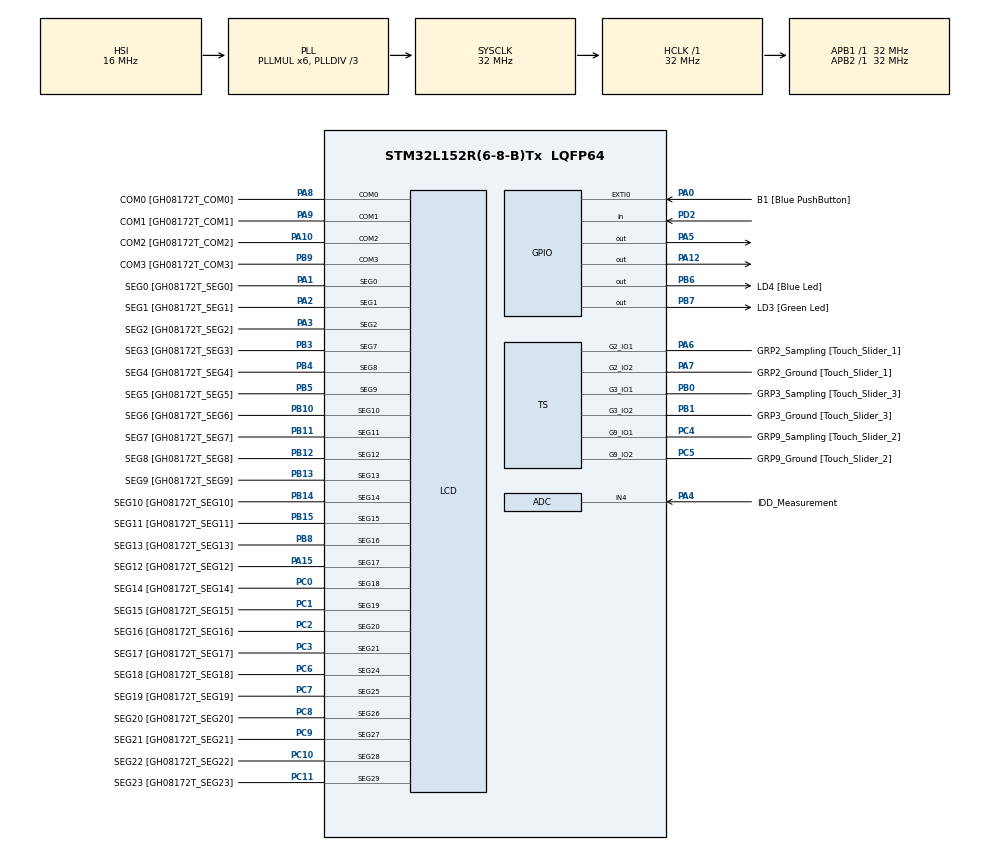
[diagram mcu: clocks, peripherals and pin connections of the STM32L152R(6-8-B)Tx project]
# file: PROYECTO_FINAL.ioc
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ADC.Channel=ADC_CHANNEL_4
ADC.Channel-0\#ChannelRegularConversion=ADC_CHANNEL_4
ADC.Channel-IN4=ADC_CHANNEL_4
ADC.ExternalTrigConv=ADC_EXTERNALTRIGCONV_T2_CC3
ADC.ExternalTrigConv-0\#ChannelRegularConversion=ADC_SOFTWARE_START
ADC.ExternalTrigConvEdge=ADC_EXTERNALTRIGCONVEDGE_RISING
ADC.Rank-0\#ChannelRegularConversion=1
ADC.SamplingTime-0\#ChannelRegularConversion=ADC_SAMPLETIME_4CYCLES
Mcu.Family=STM32L1
Mcu.Name=STM32L152R(6-8-B)Tx
Mcu.Package=LQFP64
NVIC.PriorityGroup=NVIC_PRIORITYGROUP_0
PA0-WKUP1.GPIO_Label=B1 [Blue PushButton]
PA0-WKUP1.GPIO_ModeDefaultEXTI=GPIO_MODE_EVT_RISING
PA0-WKUP1.GPIO_PuPd=GPIO_NOPULL
PA0-WKUP1.Signal=GPXTI0
PA1.GPIO_Label=SEG0 [GH08172T_SEG0]
PA1.GPIO_Mode=GPIO_MODE_AF_PP
PA1.GPIO_PuPd=GPIO_NOPULL
PA1.GPIO_Speed=GPIO_SPEED_FREQ_LOW
PA1.Mode=SEG0
PA1.Signal=LCD_SEG0
PA10.GPIO_Label=COM2 [GH08172T_COM2]
PA10.GPIO_Mode=GPIO_MODE_AF_PP
PA10.GPIO_PuPd=GPIO_NOPULL
PA10.GPIO_Speed=GPIO_SPEED_FREQ_LOW
PA10.Mode=1/4 Duty Cycle
PA10.Signal=LCD_COM2
PA12.Signal=GPIO_Output
PA13.GPIO_Label=SWDIO
PA13.Mode=Serial_Wire
PA13.Signal=SYS_JTMS-SWDIO
PA14.GPIO_Label=SWCLK
PA14.Mode=Serial_Wire
PA14.Signal=SYS_JTCK-SWCLK
PA15.GPIO_Label=SEG12 [GH08172T_SEG12]
PA15.GPIO_Mode=GPIO_MODE_AF_PP
PA15.GPIO_PuPd=GPIO_NOPULL
PA15.GPIO_Speed=GPIO_SPEED_FREQ_LOW
PA15.Mode=SEG17
PA15.Signal=LCD_SEG17
PA2.GPIO_Label=SEG1 [GH08172T_SEG1]
PA2.GPIO_Mode=GPIO_MODE_AF_PP
PA2.GPIO_PuPd=GPIO_NOPULL
PA2.GPIO_Speed=GPIO_SPEED_FREQ_LOW
PA2.Mode=SEG1
PA2.Signal=LCD_SEG1
PA3.GPIO_Label=SEG2 [GH08172T_SEG2]
PA3.GPIO_Mode=GPIO_MODE_AF_PP
PA3.GPIO_PuPd=GPIO_NOPULL
PA3.GPIO_Speed=GPIO_SPEED_FREQ_LOW
PA3.Mode=SEG2
PA3.Signal=LCD_SEG2
PA4.GPIO_Label=IDD_Measurement
PA4.GPIO_Mode=GPIO_MODE_ANALOG
PA4.GPIO_PuPd=GPIO_NOPULL
PA4.Mode=IN4
PA4.Signal=ADC_IN4
PA5.Signal=GPIO_Output
PA6.GPIO_Label=GRP2_Sampling [Touch_Slider_1]
PA6.Mode=G2_IO1-Sampling
PA6.Signal=TS_G2_IO1
PA7.GPIO_Label=GRP2_Ground [Touch_Slider_1]
PA7.Mode=G2_IO2-Channel
PA7.Signal=TS_G2_IO2
PA8.GPIO_Label=COM0 [GH08172T_COM0]
PA8.GPIO_Mode=GPIO_MODE_AF_PP
PA8.GPIO_PuPd=GPIO_NOPULL
PA8.GPIO_Speed=GPIO_SPEED_FREQ_LOW
PA8.Mode=1/4 Duty Cycle
PA8.Signal=LCD_COM0
PA9.GPIO_Label=COM1 [GH08172T_COM1]
PA9.GPIO_Mode=GPIO_MODE_AF_PP
PA9.GPIO_PuPd=GPIO_NOPULL
PA9.GPIO_Speed=GPIO_SPEED_FREQ_LOW
PA9.Mode=1/4 Duty Cycle
PA9.Signal=LCD_COM1
PB0.GPIO_Label=GRP3_Sampling [Touch_Slider_3]
PB0.Mode=G3_IO1-Sampling
PB0.Signal=TS_G3_IO1
PB1.GPIO_Label=GRP3_Ground [Touch_Slider_3]
PB1.Mode=G3_IO2-Channel
PB1.Signal=TS_G3_IO2
PB10.GPIO_Label=SEG6 [GH08172T_SEG6]
PB10.GPIO_Mode=GPIO_MODE_AF_PP
PB10.GPIO_PuPd=GPIO_NOPULL
PB10.GPIO_Speed=GPIO_SPEED_FREQ_LOW
PB10.Mode=SEG10
PB10.Signal=LCD_SEG10
PB11.GPIO_Label=SEG7 [GH08172T_SEG7]
PB11.GPIO_Mode=GPIO_MODE_AF_PP
PB11.GPIO_PuPd=GPIO_NOPULL
PB11.GPIO_Speed=GPIO_SPEED_FREQ_LOW
PB11.Mode=SEG11
PB11.Signal=LCD_SEG11
PB12.GPIO_Label=SEG8 [GH08172T_SEG8]
PB12.GPIO_Mode=GPIO_MODE_AF_PP
PB12.GPIO_PuPd=GPIO_NOPULL
PB12.GPIO_Speed=GPIO_SPEED_FREQ_LOW
PB12.Mode=SEG12
PB12.Signal=LCD_SEG12
PB13.GPIO_Label=SEG9 [GH08172T_SEG9]
PB13.GPIO_Mode=GPIO_MODE_AF_PP
PB13.GPIO_PuPd=GPIO_NOPULL
PB13.GPIO_Speed=GPIO_SPEED_FREQ_LOW
PB13.Mode=SEG13
PB13.Signal=LCD_SEG13
PB14.GPIO_Label=SEG10 [GH08172T_SEG10]
PB14.GPIO_Mode=GPIO_MODE_AF_PP
PB14.GPIO_PuPd=GPIO_NOPULL
PB14.GPIO_Speed=GPIO_SPEED_FREQ_LOW
PB14.Mode=SEG14
PB14.Signal=LCD_SEG14
PB15.GPIO_Label=SEG11 [GH08172T_SEG11]
PB15.GPIO_Mode=GPIO_MODE_AF_PP
PB15.GPIO_PuPd=GPIO_NOPULL
PB15.GPIO_Speed=GPIO_SPEED_FREQ_LOW
PB15.Mode=SEG15
PB15.Signal=LCD_SEG15
PB3.GPIO_Label=SEG3 [GH08172T_SEG3]
PB3.GPIO_Mode=GPIO_MODE_AF_PP
PB3.GPIO_PuPd=GPIO_NOPULL
PB3.GPIO_Speed=GPIO_SPEED_FREQ_LOW
PB3.Mode=SEG7
PB3.Signal=LCD_SEG7
PB4.GPIO_Label=SEG4 [GH08172T_SEG4]
PB4.GPIO_Mode=GPIO_MODE_AF_PP
PB4.GPIO_PuPd=GPIO_NOPULL
PB4.GPIO_Speed=GPIO_SPEED_FREQ_LOW
PB4.Mode=SEG8
PB4.Signal=LCD_SEG8
PB5.GPIO_Label=SEG5 [GH08172T_SEG5]
PB5.GPIO_Mode=GPIO_MODE_AF_PP
PB5.GPIO_PuPd=GPIO_NOPULL
PB5.GPIO_Speed=GPIO_SPEED_FREQ_LOW
PB5.Mode=SEG9
PB5.Signal=LCD_SEG9
PB6.GPIO_Label=LD4 [Blue Led]
PB6.GPIO_ModeDefaultOutputPP=GPIO_MODE_OUTPUT_PP
PB6.GPIO_PuPd=GPIO_NOPULL
PB6.GPIO_Speed=GPIO_SPEED_FREQ_LOW
PB6.Signal=GPIO_Output
PB7.GPIO_Label=LD3 [Green Led]
PB7.GPIO_ModeDefaultOutputPP=GPIO_MODE_OUTPUT_PP
PB7.GPIO_PuPd=GPIO_NOPULL
PB7.GPIO_Speed=GPIO_SPEED_FREQ_LOW
PB7.Signal=GPIO_Output
PB8.GPIO_Label=SEG13 [GH08172T_SEG13]
PB8.GPIO_Mode=GPIO_MODE_AF_PP
PB8.GPIO_PuPd=GPIO_NOPULL
PB8.GPIO_Speed=GPIO_SPEED_FREQ_LOW
PB8.Mode=SEG16
PB8.Signal=LCD_SEG16
PB9.GPIO_Label=COM3 [GH08172T_COM3]
PB9.GPIO_Mode=GPIO_MODE_AF_PP
PB9.GPIO_PuPd=GPIO_NOPULL
PB9.GPIO_Speed=GPIO_SPEED_FREQ_LOW
PB9.Mode=1/4 Duty Cycle
PB9.Signal=LCD_COM3
PC0.GPIO_Label=SEG14 [GH08172T_SEG14]
PC0.GPIO_Mode=GPIO_MODE_AF_PP
PC0.GPIO_PuPd=GPIO_NOPULL
PC0.GPIO_Speed=GPIO_SPEED_FREQ_LOW
PC0.Mode=SEG18
PC0.Signal=LCD_SEG18
PC1.GPIO_Label=SEG15 [GH08172T_SEG15]
PC1.GPIO_Mode=GPIO_MODE_AF_PP
PC1.GPIO_PuPd=GPIO_NOPULL
PC1.GPIO_Speed=GPIO_SPEED_FREQ_LOW
PC1.Mode=SEG19
PC1.Signal=LCD_SEG19
PC10.GPIO_Label=SEG22 [GH08172T_SEG22]
PC10.GPIO_Mode=GPIO_MODE_AF_PP
PC10.GPIO_PuPd=GPIO_NOPULL
PC10.GPIO_Speed=GPIO_SPEED_FREQ_LOW
PC10.Mode=SEG28
PC10.Signal=LCD_SEG28
PC11.GPIO_Label=SEG23 [GH08172T_SEG23]
PC11.GPIO_Mode=GPIO_MODE_AF_PP
PC11.GPIO_PuPd=GPIO_NOPULL
PC11.GPIO_Speed=GPIO_SPEED_FREQ_LOW
PC11.Mode=SEG29
PC11.Signal=LCD_SEG29
PC14-OSC32_IN.GPIO_Label=PC14-OSC32_IN
PC14-OSC32_IN.Mode=LSE-External-Oscillator
PC14-OSC32_IN.Signal=RCC_OSC32_IN
PC15-OSC32_OUT.GPIO_Label=PC15-OSC32_OUT
PC15-OSC32_OUT.Mode=LSE-External-Oscillator
PC15-OSC32_OUT.Signal=RCC_OSC32_OUT
PC2.GPIO_Label=SEG16 [GH08172T_SEG16]
PC2.GPIO_Mode=GPIO_MODE_AF_PP
PC2.GPIO_PuPd=GPIO_NOPULL
PC2.GPIO_Speed=GPIO_SPEED_FREQ_LOW
PC2.Mode=SEG20
PC2.Signal=LCD_SEG20
PC3.GPIO_Label=SEG17 [GH08172T_SEG17]
PC3.GPIO_Mode=GPIO_MODE_AF_PP
PC3.GPIO_PuPd=GPIO_NOPULL
PC3.GPIO_Speed=GPIO_SPEED_FREQ_LOW
PC3.Mode=SEG21
PC3.Signal=LCD_SEG21
PC4.GPIO_Label=GRP9_Sampling [Touch_Slider_2]
PC4.Mode=G9_IO1-Sampling
PC4.Signal=TS_G9_IO1
PC5.GPIO_Label=GRP9_Ground [Touch_Slider_2]
PC5.Mode=G9_IO2-Channel
PC5.Signal=TS_G9_IO2
PC6.GPIO_Label=SEG18 [GH08172T_SEG18]
PC6.GPIO_Mode=GPIO_MODE_AF_PP
PC6.GPIO_PuPd=GPIO_NOPULL
PC6.GPIO_Speed=GPIO_SPEED_FREQ_LOW
PC6.Mode=SEG24
PC6.Signal=LCD_SEG24
PC7.GPIO_Label=SEG19 [GH08172T_SEG19]
PC7.GPIO_Mode=GPIO_MODE_AF_PP
PC7.GPIO_PuPd=GPIO_NOPULL
PC7.GPIO_Speed=GPIO_SPEED_FREQ_LOW
PC7.Mode=SEG25
PC7.Signal=LCD_SEG25
PC8.GPIO_Label=SEG20 [GH08172T_SEG20]
PC8.GPIO_Mode=GPIO_MODE_AF_PP
PC8.GPIO_PuPd=GPIO_NOPULL
PC8.GPIO_Speed=GPIO_SPEED_FREQ_LOW
PC8.Mode=SEG26
PC8.Signal=LCD_SEG26
PC9.GPIO_Label=SEG21 [GH08172T_SEG21]
PC9.GPIO_Mode=GPIO_MODE_AF_PP
PC9.GPIO_PuPd=GPIO_NOPULL
PC9.GPIO_Speed=GPIO_SPEED_FREQ_LOW
PC9.Mode=SEG27
PC9.Signal=LCD_SEG27
PD2.Signal=GPIO_Input
ProjectManager.HeapSize=0x200
ProjectManager.StackSize=0x400
ProjectManager.TargetToolchain=STM32CubeIDE
RCC.48MHZClocksFreq_Value=48000000
RCC.AHBFreq_Value=32000000
RCC.APB1Freq_Value=32000000
RCC.APB1TimFreq_Value=32000000
RCC.APB2Freq_Value=32000000
RCC.APB2TimFreq_Value=32000000
RCC.HCLKFreq_Value=32000000
RCC.HSE_VALUE=8000000
RCC.HSI_VALUE=16000000
RCC.MSI_VALUE=2097000
RCC.PLLDIV=RCC_PLL_DIV3
RCC.PLLMUL=RCC_PLL_MUL6
RCC.RTCClockSelectionVirtual=RCC_RTCCLKSOURCE_LSE
RCC.SYSCLKFreq_VALUE=32000000
RCC.SYSCLKSource=RCC_SYSCLKSOURCE_PLLCLK
RCC.USBOutput=48000000
RCC.VCOOutputFreq_Value=96000000
VP_TIM2_VS_ClockSourceINT.Mode=Internal
VP_TIM3_VS_ClockSourceINT.Mode=Internal
VP_TIM4_VS_ClockSourceINT.Mode=Internal
board=STM32L-DISCOVERY

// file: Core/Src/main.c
/* USER CODE BEGIN Header */
/**
 ******************************************************************************
 * @file           : main.c
 * @brief          : Main program body
 ******************************************************************************
 * @attention
 *
 * Copyright (c) 2022 STMicroelectronics.
 * All rights reserved.
 *
 * This software is licensed under terms that can be found in the LICENSE file
 * in the root directory of this software component.
 * If no LICENSE file comes with this software, it is provided AS-IS.
 *
 ******************************************************************************
 */
/* USER CODE END Header */
#include "main.h"

/* USER CODE BEGIN Includes */
#include <stdlib.h>
#include "stm32l152c_discovery.h"
#include "stm32l152c_discovery_glass_lcd.h"
#include "string.h"

/* USER CODE END Includes */

ADC_HandleTypeDef hadc;

LCD_HandleTypeDef hlcd;

TIM_HandleTypeDef htim2;
TIM_HandleTypeDef htim3;
TIM_HandleTypeDef htim4;

/* USER CODE BEGIN PV */
/*short botUser = 0;
 short juego = 1;
 short pulsacion = 0;
 int espera_cuenta_atras = 2;
 short pulsacion_j1 = 0; //Para el juego 2
 short pulsacion_j2 = 0; //Para el juego 2
 int ganador = 0;
 int tiempo_espera = 0;
 short reinicio = 0;

 */

unsigned char cadena[6];
//PARA ANTES DE ELEGIR JUEGO
short juego = 1;
short reinicio = 0;

//JUGADORES
short jugador1 = 0; //DICE SI EL JUGADOR 1 LE HA DADO AL BOTON
short jugador2 = 0; //DICE SI EL JUGADOR 2 LE HA DADO AL BOTON
int tiempo1; //TIEMPO DEL JUGADOR 1
int tiempo2; //TIEMPO DEL JUGADOR 2
int prueba = 12345;
short ganador = 0; //DICE QUIEN HA GANADO

//EXCLUSIVO DEL JUEGO 2
short limite_pantalla = 30; //EST�? PUESTO A 15 SEGUNDOS PARA QUE CUANDO LOS SOBREPASE SE TERMINE EL JUEGO 2
short limite_rnd = 10; //POR DEFAULT LO PONEMOS
short signo = 0;
int num_ant = 0;
int num = 0;
int potenciometro = 0;
short escalado = 0;
int tiempo_total = 0;
short DC = 1;
short melodia = 0;
//Una vez haya acabado el juego para reiniciar
short juego_acabado = 0;

//PARA LIMITAR EL PASO DEL PROGRAMA

short contador_espera = 0;
short espera = 0;
short limite = 6;
short paso = 0; //Va a actuar como barrera para limitar el paso del programa
int tiempo_excedido = 0;

/* USER CODE END PV */

void SystemClock_Config(void);
static void MX_GPIO_Init(void);
static void MX_ADC_Init(void);
static void MX_LCD_Init(void);
static void MX_TS_Init(void);
static void MX_TIM3_Init(void);
static void MX_TIM4_Init(void);
static void MX_TIM2_Init(void);

/* USER CODE BEGIN 0 */
/*void EXTI9_5_IRQHandler(void) { // El PC salta aquí en cuanto se produzca la EXTI2
 if (botUser == 0) {
 botUser = 1;
 } else if (botUser == 1) {
 botUser = 0;
 }
 EXTI->PR |= 0x0080; // Borro el flag
 }
 */

void Bin2Ascii(short numero, unsigned char *cadena) {
	uint8_t ind;
	uint32_t div = 10000, resto = numero;

	for (ind = 1; ind < 6; ind++) {
		cadena[ind] = resto / div + '0';
		resto = numero % div;
		div = div / 10;
	}

}

void TIM4_IRQHandler(void) {
	if ((TIM4->SR & 0x0004) != 0) {
		tiempo1 = TIM4->CCR2;
		jugador1 = 1;

	} else if ((TIM4->SR & 0x0002) != 0) {
		tiempo2 = TIM4->CCR1;
		jugador2 = 1;
	}
	TIM4->SR = 0x0000;
}

void TIM3_IRQHandler(void) {
	if ((TIM3->SR & 0x0002) != 0) {
		contador_espera++;
		if (contador_espera == limite) {
			espera++;
		}
		TIM3->CNT = 0;
	}
	// TIM3->CCR1 += tiempo; // Actualizo el valor de la comparación incrementándolo en
	// 1000 pasos = 1 segundo

	TIM3->SR = 0x0000; // Limpio los flags del contador
}

void EXTI0_IRQHandler(void) { // El PC salta aquí en cuanto se produzca la EXTI0
	reinicio = 1;
	EXTI->PR = 0x0001; // Borro el flag
}
/* USER CODE END 0 */

int main(void) {

	/* MCU Configuration--------------------------------------------------------*/

	/* Reset of all peripherals, Initializes the Flash interface and the Systick. */
	HAL_Init();

	/* Configure the system clock */
	SystemClock_Config();

	/* Initialize all configured peripherals */
	MX_GPIO_Init();
	MX_ADC_Init();
	MX_LCD_Init();
	MX_TS_Init();
	MX_TIM2_Init();
	MX_TIM3_Init();
	MX_TIM4_Init();

	BSP_LCD_GLASS_Init();
	BSP_LCD_GLASS_BarLevelConfig(0);
	BSP_LCD_GLASS_Clear();
	/* USER CODE BEGIN 2 */
	//LED VERDE
	GPIOA->MODER &= ~(1 << (12 * 2 + 1));
	GPIOA->MODER |= (1 << (12 * 2));
	GPIOA->OTYPER &= ~(1 << 12);
	GPIOA->OSPEEDR &= ~(1 << (12 * 2 + 1));
	GPIOA->OSPEEDR &= ~(1 << (12 * 2));

	//LED AMARILLO
	GPIOD->MODER &= ~(1 << (2 * 2 + 1));
	GPIOD->MODER |= (1 << (2 * 2));
	GPIOD->OTYPER &= ~(1 << 2);
	GPIOD->OSPEEDR &= ~(1 << (2 * 2 + 1));
	GPIOD->OSPEEDR &= ~(1 << (2 * 2));
	//REGISTROS BOTON USER
	SYSCFG->EXTICR[0] &= ~((1 << (4 * 0 + 0)) | (1 << (4 * 0 + 1))
			| (1 << (4 * 0 + 2)) | (1 << (4 * 0 + 3))); //Exti_0 GPIOA_0
	GPIOA->PUPDR |= (1 << (2 * 0 + 1));
	GPIOA->PUPDR &= ~(1 << (2 * 0)); //Configura Pull_UP
	EXTI->FTSR |= (1 << 0); //Habilita flanco de subida
	EXTI->RTSR &= ~(1 << 0); //Deshabilita flanco bajada
	EXTI->IMR |= (1 << 0); //desenmascara exti_0
	NVIC->ISER[0] |= (1 << 6); //Habilita IRQ de exti0

	//REGISTROS BOTON 1   PB6 COMO ENTRADA DE TIM4 CH1
	GPIOB->MODER |= (1 << (2 * 6 + 1));
	GPIOB->MODER &= ~(1 << (2 * 6));
	//GPIOB->6 Funcion alternativa PARA TIMER
	GPIOB->AFR[0] &=
			~((1 << (4 * 6)) | (1 << (4 * 6 + 2)) | (1 << (4 * 6 + 3)));
	GPIOB->AFR[0] |= (1 << (4 * 6 + 1));
	//Funcion alternativa de GPIOx->Puerto_6  ES PARA TIMER 4 ch1
	GPIOB->PUPDR |= (1 << (2 * 6));
	GPIOB->PUPDR &= ~(1 << (2 * 6 + 1));
	//Boton 1 a Pull_UP (PB6)

	//REGISTROS PB7 COMO FUNCION ALTERNATIVA
	GPIOB->MODER &= ~(1 << (7 * 2));
	GPIOB->MODER |= (1 << (7 * 2 + 1));
	GPIOB->AFR[0] |= (1 << ((7 * 4) + 1));
	GPIOB->AFR[0] &= ~((1 << (7 * 4)) | (1 << ((7 * 4) + 2))
			| (1 << ((7 * 4) + 3)));
	GPIOB->PUPDR |= (1 << (2 * 7));
	GPIOB->PUPDR &= ~(1 << (2 * 7 + 1));
	//HITO 1
	/*SYSCFG->EXTICR[1] &= ~((1 << (4 * 3 + 1)) | (1 << (4 * 3 + 2))| (1 << (4 * 3 + 3)));
	 SYSCFG->EXTICR[1] |= (1 << (4 * 3 + 0));
	 EXTI->FTSR |= (1 << 7);
	 EXTI->RTSR &= ~(1 << 7);
	 EXTI->IMR |= (1 << 7);*/

	TIM4->CR1 = 0;
	TIM4->CR2 = 0;
	TIM4->SMCR = 0; //SIEMPRE A 0

	//PONEMOS EL COMPARE MODE REGISTER A TIC 01
	TIM4->CCMR1 |= 0x0101;

	//PONEMOS EL ENABLE REGISTER A FLANCO DE BAJADA 0 1
	TIM4->CCER |= (1 << (4 * 0 + 1)); //BIT CC1P A 1
	TIM4->CCER &= ~(1 << (4 * 0 + 3)); //BIT CC1NP A 0
	TIM4->CCER |= (1 << (4 * 1 + 1)); //BIT CC2P A 1
	TIM4->CCER &= ~(1 << (4 * 1 + 3)); //BIT CC2NP A 0

	TIM4->CCER |= (1 << (4 * 0)); //OUTPUT ENABLE A 1 (canal 1)
	TIM4->CCER |= (1 << (4 * 1)); //OUTPUT ENABLE A 1 (canal 2)

	TIM4->CNT = 0; //INICIALIZAMOS CONTADOR A 0
	TIM4->PSC = 32000; //PREESCALADO 32000 ->1 TIK = 1000 PASOS POR SEGUNDO
	TIM4->ARR = 0xFFFF; //Valor maxijmo para ARR ->el ciclo del timer son xxx segundos
	TIM4->EGR |= 0x0001;

	TIM4->DIER = 0x0006;
	TIM4->SR = 0x00;
	NVIC->ISER[0] |= (1 << 30); //hABILITA LA INTERRUPCIÓN POR toc DEL TIMER 4
	TIM4->CR1 |= 0x01; //Arranca el timer

	TIM3->CR1 = 0x0000; // ARPE = 0 -> No es PWM, es TOC
	// CEN = 0; Contador apagado
	TIM3->CR2 = 0x0000; // Siempre "0" en este curso
	TIM3->SMCR = 0x0000;
	TIM3->PSC = 32000; // Preescalado = 32000 -> Frecuencia del contador = 32000000/32000
	// = 1000 pasos por segundo
	TIM3->CNT = 0; // Inicializo el valor del contador a cero
	TIM3->ARR = 0xFFFF; // Valor recomendado = FFFF
	TIM3->CCR1 = 500; // Registro donde se guarda el valor que marca la comparación existosa
	// en TOC.
	// Lo inicializo al valor que quiero llegar = 1000 pasos = 1 sg
	TIM3->DIER = 0x0002;	//DESENMASCARAMOS INTERRRUPCIONES CANAL 1 TIMER 3
	// Modo de salida del contador
	TIM3->CCMR1 = 0x0000; // CCyS = 0 (TOC)
	// OCyM = 000 (no hay salida por el pin HW asociado al TIM4)
	// OCyPE = 0 (sin precarga)
	TIM3->CCER = 0x0000; // CCyP = 0 (siempre en TOC)
	// CCyE = 0 (desactivada la salida hardware)
	// Habilitación de contador
	TIM3->CR1 |= 0x0001; // CEN = 1 -> Arranco el contador
	TIM3->EGR |= 0x0001; // UG = 1 -> Se genera evento de actualización
	TIM3->SR = 0; // Limpio los flags del contador

	// Habilitación de la interrupción TIM3_IRQ en el NVIC (posición 30).
	NVIC->ISER[0] |= (1 << 29);
	TIM3->CR1 |= 0x01; //Arranca el timer*/

	// ADC Configuration
	GPIOA->MODER |= 0x00000300; // PA4 as analog
	ADC1->CR2 &= ~(0x00000001); // ADON = 0 (ADC powered off)
	ADC1->CR1 = 0x00000000; // OVRIE = 0 (overrun IRQ disabled)
	// RES = 00 (resolution = 12 bits)
	// SCAN = 0 (scan mode disabled)
	// EOCIE = 0 (EOC IRQ disabled)
	ADC1->CR2 = 0x00000412; // EOCS = 1 (EOC is activated after each conversion)
	// DELS = 001 (delay till data is read)
	// CONT = 1 (continuous conversion)
	ADC1->SQR1 = 0x00000000; // 1 channel in the sequence
	ADC1->SQR5 = 0x00000004; // The selected channel is AIN4
	ADC1->CR2 |= 0x00000001; // ADON = 1 (ADC powered on)
	while ((ADC1->SR & 0x0040) == 0)
		; // If ADCONS = 0, I wait till converter is ready
	ADC1->CR2 |= 0x40000000;

	//CONF PWM ASOCIADO A TIMER 2
	GPIOA->MODER |= 1 << (2 * 5 + 1); // MODER = 10 (AF) para el bit 5 del puerto A
	GPIOA->MODER &= ~(1 << (2 * 5));
	GPIOA->AFR[0] &= ~(1 << (4 * 5 + 3));
	GPIOA->AFR[0] &= ~(1 << (4 * 5 + 2));
	GPIOA->AFR[0] &= ~(1 << (4 * 5 + 1));
	GPIOA->AFR[0] |= (1 << (4 * 5)); // AFR[0] para decir que el PA5 tiene la AF1 (TIM2)
	//CONF TIMER 2
	TIM2->CR1 = 0x0080; // ARPE = 1 -> Es PWM; CEN = 0; Contador apagado
	TIM2->CR2 = 0x0000; // Siempre "0" en este curso
	TIM2->SMCR = 0x0000; // Siempre "0" en este curso
	TIM2->PSC = 32000; // Preescalado=32000 -> f_contador=32000000/32000 = 1000 pasos/segundo
	TIM2->CNT = 0; // Inicializo el valor del contador a cero

	TIM2->ARR = 0;
	TIM2->CCR1 = 0; // Pongo una frecuencia PWM de 100 Hz y sólo cuento 10 pasos
	TIM2->CCR2 = 1; // EL DUTY CYCLE VA A SER EL MISMO
	TIM2->DIER = 0x0000;
	TIM2->CCMR1 = 0x0068; // CCyS = 0 (TOC, PWM)
	TIM2->CCMR2 = 0x0000;
	TIM2->EGR |= 0x01;
	TIM2->CR1 |= 0x0001;
	// OCyM = 110 (PWM con el primer semiciclo a 1)
	// OCyPE = 1 (con precarga)
	TIM2->CCER = 0x0001; // CCyP = 0 (siempre en PWM)
	// CCyE = 1 (activada la salida hardware)

	/* USER CODE END 2 */

	/* USER CODE END 2 */

	/* Infinite loop */
	/* USER CODE BEGIN WHILE */
	while (1) {

		if (reinicio == 1) {
			juego_acabado = 1;
			reinicio = 0;
			if (juego == 1) {
				juego = 2;
				//CONFIGURAMOS LO QUE HAGA FALTA DEL JUEGO 2
			} else {
				juego = 1;
				//CONFIGURAMOS LO QUE HAGA FALTA DEL JUEGO 1
			}
		}

		if (juego_acabado == 1) {
			TIM2->CCER = 0;
			GPIOA->BSRR |= (1 << 28);
			GPIOD->BSRR |= ((1 << 2) << 16);
			jugador1 = 0; //DICE SI EL JUGADOR 1 LE HA DADO AL BOTON
			jugador2 = 0; //DICE SI EL JUGADOR 2 LE HA DADO AL BOTON
			ganador = 0; //DICE QUIEN HA GANADO
			juego_acabado = 0;
			paso = 0;
			espera = 0;
			tiempo_excedido = 0;
			TIM4->CNT = 0;
			potenciometro = ADC1->DR;
			escalado = 0;
			tiempo_total = 0;
			melodia = 0;
		}

		switch (juego) {
		case (1):

			if (paso == 0) {
				BSP_LCD_GLASS_DisplayString((uint8_t*) "JUEGO1");
				TIM3->CNT = 0;
				limite = rand() % 8 + 2;
				; //ESPERAMOS ENTRE 1 Y 5  SEGUNDOS A ENCENDER EL LED
				contador_espera = 0;
				espera = 0;
				paso++;
			}

			if (paso > 0 && espera > 0) {

				if (paso == 1) {
					TIM4->CNT = 0;
					GPIOA->BSRR |= (1 << 12); //ENCENDEMOS LED
					TIM3->CNT = 0;
					contador_espera = 0;
					espera = 1;
					paso++;
					jugador1 = 0;
					jugador2 = 0;
					limite = 6;
				}

				if ((jugador1 == 1 || jugador2 == 1) && tiempo_excedido == 0) { //pulsacion

					if (ganador == 0) { //NO SE HA DECIDIDO EL GANADOR
						GPIOA->BSRR |= (1 << 28);
						if (jugador1 == 1) {
							ganador = 1;
						} else if (jugador2 == 1) {
							ganador = 2;
						}
					}

					if (ganador == 1) {
						if (paso == 2) {
							Bin2Ascii((short) (tiempo1), cadena);
							BSP_LCD_GLASS_Clear();
							cadena[0] = '1';
							paso++;
							TIM3->CNT = 0;
							contador_espera = 0;
							espera = 2;
						}

					} else if (ganador == 2) {
						if (paso == 2) {
							Bin2Ascii((short) (tiempo2), cadena);
							BSP_LCD_GLASS_Clear();
							cadena[0] = '2';
							paso++;
							TIM3->CNT = 0;
							contador_espera = 0;
							espera = 2;
						}

					}

					BSP_LCD_GLASS_DisplayString((uint8_t*) cadena);
					//MOSTRAMOS EL MENSAJE 3 SEGUNDOS
					if (espera == 3) {
						juego_acabado = 1;
					}
					//SE TERMINA EL JUEGO Y VUELTA A EMPEZAR

				} else if (espera == 2 || tiempo_excedido == 1) { //HAN PASADO 3 SEGUNDOS Y NADIE LE HA DADO AL BOTON
					tiempo_excedido = 1;
					GPIOA->BSRR |= (1 << 28);
					if (paso == 2) {
						TIM3->CNT = 0;
						contador_espera = 0;
						espera = 2;
						paso++;
						BSP_LCD_GLASS_Clear();
					}

					BSP_LCD_GLASS_DisplayString((uint8_t*) "-----");
					//MOSTRAMOS EL MENSAJE POR 3 SEGUNDOS
					if (espera == 3) {
						juego_acabado = 1;
					}
					//SE TERMINA EL JUEGO Y VUELTA A EMPEZAR
				}

			}

			break;

		case (2):
			/*(paso == 0) {
			 paso++;
			 Bin2Ascii((short) (prueba - 10000), cadena);
			 cadena[0] = '2';
			 BSP_LCD_GLASS_DisplayString((uint8_t*) " JUG_1");
			 //espera2SEG;
			 BSP_LCD_GLASS_DisplayString((uint8_t*) cadena);
			 BSP_LCD_GLASS_DisplayString((uint8_t*) "-");
			 }*/

			if (paso == 0) {
				potenciometro = ADC1->DR;
				if (potenciometro < 900) {
					escalado = 1;
					tiempo_total = 5000;
				} else if (potenciometro > 3500) {
					escalado = 4;
					tiempo_total = 20000;
				} else {
					escalado = 2;
					tiempo_total = 10000;
				}
				BSP_LCD_GLASS_DisplayString((uint8_t*) "JUEGO2");
				TIM3->CNT = 0;
				limite = 6; //MOSTRAMOS MENSAJE POR PANTALLA DURANTE 3 SEGUNDOS
				contador_espera = 0;
				espera = 0;
				paso++;

			}

			if (paso > 0 && espera > 0 && paso < 3) {
				if (paso == 1) {
					limite = escalado;
					paso++;
					limite_rnd = rand() % 8 + 1; //ENTRE 1 Y 9
					contador_espera = 0;
					num_ant = 0;
					num = 0;
					BSP_LCD_GLASS_Clear();
					BSP_LCD_GLASS_DisplayString((uint8_t*) "    10");
					TIM4->CNT = 0;

				}

				if (espera >= 1 && espera <= 15) {
					num = (espera - 1);
					if (num_ant != num) {
						limite += escalado;
						num_ant = num;
						if (espera <= limite_rnd) {
							Bin2Ascii((short) (10 - num), cadena);
							cadena[0] = ' ';
							cadena[1] = ' ';
							cadena[2] = ' ';
							cadena[3] = ' ';
							BSP_LCD_GLASS_DisplayString((uint8_t*) cadena);
						} else {
							BSP_LCD_GLASS_Clear();
						}

					}

				}
				if (paso < 3) {
					//GANADOR
					if (jugador1 == 1 && jugador2 == 1 && juego_acabado == 0) { //PULSAN AMBOS JUGADORES
						if (paso == 2) {
							paso++;
							if (tiempo1 < tiempo_total
									&& tiempo2 < tiempo_total) { //LOS DOS ANTES DE10
								if (tiempo1 > tiempo2) {
									ganador = 1;
									tiempo1 = tiempo_total - tiempo1;
								} else {
									ganador = 2;
									tiempo2 = tiempo_total - tiempo2;
								}
								signo = 1;
							} else if (tiempo1 > tiempo_total
									&& tiempo2 < tiempo_total) { //J1 DESPUES J2 ANTES DE 10 SEG
								if ((tiempo1 - tiempo_total)
										< (tiempo_total - tiempo2)) {
									ganador = 1;
									signo = 0;
									tiempo1 = tiempo1 - tiempo_total;
								} else {
									ganador = 2;
									signo = 1;
									tiempo2 = tiempo_total - tiempo2;
								}

							} else if (tiempo1 < tiempo_total
									&& tiempo2 > tiempo_total) { //J1 ANTES J2 DESPUES DE 10 SEG
								if ((tiempo_total - tiempo1)
										< (tiempo2 - tiempo_total)) {
									ganador = 1;
									signo = 1;
									tiempo1 = tiempo_total - tiempo1;
								} else {
									ganador = 2;
									signo = 0;
									tiempo2 = tiempo2 - tiempo_total;
								}

							} else { //LOS DOS DESPUES DE 10 SEG
								signo = 0;
								if (tiempo1 < tiempo2) {
									ganador = 1;
									tiempo1 = tiempo1 - tiempo_total;

								} else {
									ganador = 2;
									tiempo2 = tiempo2 - tiempo_total;
								}
							}

						}

					} else if (espera == 13) {

						if (paso == 2) {
							paso++;
							if (jugador1 == 1) { //SOLO HA PULSADO JUGADOR 1
								ganador = 1;
								if (tiempo1 < tiempo_total) {
									signo = 1;
									tiempo1 = tiempo_total - tiempo1;
								} else {
									signo = 0;
									tiempo1 = tiempo1 - tiempo_total;
								}
							} else if (jugador2 == 1) { //SOLO HA PULSADO JUGADOR 2
								ganador = 2;
								if (tiempo1 < tiempo_total) {
									signo = 1;
									tiempo2 = tiempo_total - tiempo2;
								} else {
									signo = 0;
									tiempo2 = tiempo2 - tiempo_total;
								}
							} else { //NO HA PULSADO NINGUN JUGADOR
								BSP_LCD_GLASS_DisplayString((uint8_t*) " FIN ");
								paso = 5;
								espera = 14;
								TIM3->CNT = 0;
								contador_espera = 0;
								limite = 6;
							}
						}

					}
				}

			}
			if (paso == 3) { //YA SE HA DECIDIO LA PARTIDA
				if (signo == 1) {
					TIM2->ARR = 8; //SI BEMOL PARA JUGADOR 2
					TIM2->CCR1 = 4;
				} else {
					TIM2->ARR = 4; //SI BEMOL PARA JUGADOR 2
					TIM2->CCR1 = 2; //DESPUES
				}
				if (ganador == 1) {

					BSP_LCD_GLASS_DisplayString((uint8_t*) " JUG_1");
					Bin2Ascii((short) (tiempo1), cadena);
					GPIOA->BSRR |= (1 << 12);
				} else if (ganador == 2) {

					BSP_LCD_GLASS_DisplayString((uint8_t*) " JUG_2");
					Bin2Ascii((short) (tiempo2), cadena);
					GPIOD->BSRR |= (1 << 2);
				}
				TIM2->CCER = 0X0001;
				TIM2->EGR |= 0x0001; // UG = 1 ->
				TIM2->CR1 |= 0x0001; // CEN = 1 ->

				paso++;
				TIM3->CNT = 0;
				espera = 13;
				contador_espera = 0;
				limite = 6;
			} //MUESTRA 2 SEGUNDOS QUIEN HA GANADO

			if (espera == 14 && paso > 3) {
				if (paso == 4) {
					if (signo == 1) {
						cadena[0] = '-';
					} else {
						cadena[0] = ' ';
					}
					BSP_LCD_GLASS_DisplayString((uint8_t*) cadena);
					contador_espera = 0;
					TIM3->CNT = 0;
					paso++;
				}
				//MOSTRAMOS EL MENSAJE 3 SEGUNDOS

			} //MUESTRA 2 SEGUNDOS EL TIEMPO
			if (espera == 15) {
				juego_acabado = 1;
			}

			break;

		default:
			BSP_LCD_GLASS_Clear();
			break;
		}

	}
}
void SystemClock_Config(void) {
	RCC_OscInitTypeDef RCC_OscInitStruct = { 0 };
	RCC_ClkInitTypeDef RCC_ClkInitStruct = { 0 };
	RCC_PeriphCLKInitTypeDef PeriphClkInit = { 0 };

	/** Configure the main internal regulator output voltage
	 */
	__HAL_PWR_VOLTAGESCALING_CONFIG(PWR_REGULATOR_VOLTAGE_SCALE1);

	/** Initializes the RCC Oscillators according to the specified parameters
	 * in the RCC_OscInitTypeDef structure.
	 */
	RCC_OscInitStruct.OscillatorType = RCC_OSCILLATORTYPE_HSI
			| RCC_OSCILLATORTYPE_LSE;
	RCC_OscInitStruct.LSEState = RCC_LSE_ON;
	RCC_OscInitStruct.HSIState = RCC_HSI_ON;
	RCC_OscInitStruct.HSICalibrationValue = RCC_HSICALIBRATION_DEFAULT;
	RCC_OscInitStruct.PLL.PLLState = RCC_PLL_ON;
	RCC_OscInitStruct.PLL.PLLSource = RCC_PLLSOURCE_HSI;
	RCC_OscInitStruct.PLL.PLLMUL = RCC_PLL_MUL6;
	RCC_OscInitStruct.PLL.PLLDIV = RCC_PLL_DIV3;
	if (HAL_RCC_OscConfig(&RCC_OscInitStruct) != HAL_OK) {
		Error_Handler();
	}

	/** Initializes the CPU, AHB and APB buses clocks
	 */
	RCC_ClkInitStruct.ClockType = RCC_CLOCKTYPE_HCLK | RCC_CLOCKTYPE_SYSCLK
			| RCC_CLOCKTYPE_PCLK1 | RCC_CLOCKTYPE_PCLK2;
	RCC_ClkInitStruct.SYSCLKSource = RCC_SYSCLKSOURCE_PLLCLK;
	RCC_ClkInitStruct.AHBCLKDivider = RCC_SYSCLK_DIV1;
	RCC_ClkInitStruct.APB1CLKDivider = RCC_HCLK_DIV1;
	RCC_ClkInitStruct.APB2CLKDivider = RCC_HCLK_DIV1;

	if (HAL_RCC_ClockConfig(&RCC_ClkInitStruct, FLASH_LATENCY_1) != HAL_OK) {
		Error_Handler();
	}
	PeriphClkInit.PeriphClockSelection = RCC_PERIPHCLK_RTC | RCC_PERIPHCLK_LCD;
	PeriphClkInit.RTCClockSelection = RCC_RTCCLKSOURCE_LSE;
	PeriphClkInit.LCDClockSelection = RCC_RTCCLKSOURCE_LSE;

	if (HAL_RCCEx_PeriphCLKConfig(&PeriphClkInit) != HAL_OK) {
		Error_Handler();
	}
}

static void MX_ADC_Init(void) {

	ADC_ChannelConfTypeDef sConfig = { 0 };

	/** Configure the global features of the ADC (Clock, Resolution, Data Alignment and number of conversion)
	 */
	hadc.Instance = ADC1;
	hadc.Init.ClockPrescaler = ADC_CLOCK_ASYNC_DIV1;
	hadc.Init.Resolution = ADC_RESOLUTION_12B;
	hadc.Init.DataAlign = ADC_DATAALIGN_RIGHT;
	hadc.Init.ScanConvMode = ADC_SCAN_DISABLE;
	hadc.Init.EOCSelection = ADC_EOC_SEQ_CONV;
	hadc.Init.LowPowerAutoWait = ADC_AUTOWAIT_DISABLE;
	hadc.Init.LowPowerAutoPowerOff = ADC_AUTOPOWEROFF_DISABLE;
	hadc.Init.ChannelsBank = ADC_CHANNELS_BANK_A;
	hadc.Init.ContinuousConvMode = DISABLE;
	hadc.Init.NbrOfConversion = 1;
	hadc.Init.DiscontinuousConvMode = DISABLE;
	hadc.Init.ExternalTrigConv = ADC_EXTERNALTRIGCONV_T2_CC3;
	hadc.Init.ExternalTrigConvEdge = ADC_EXTERNALTRIGCONVEDGE_RISING;
	hadc.Init.DMAContinuousRequests = DISABLE;
	if (HAL_ADC_Init(&hadc) != HAL_OK) {
		Error_Handler();
	}

	/** Configure for the selected ADC regular channel its corresponding rank in the sequencer and its sample time.
	 */
	sConfig.Channel = ADC_CHANNEL_4;
	sConfig.Rank = ADC_REGULAR_RANK_1;
	sConfig.SamplingTime = ADC_SAMPLETIME_4CYCLES;
	if (HAL_ADC_ConfigChannel(&hadc, &sConfig) != HAL_OK) {
		Error_Handler();
	}

}

static void MX_LCD_Init(void) {

	hlcd.Instance = LCD;
	hlcd.Init.Prescaler = LCD_PRESCALER_1;
	hlcd.Init.Divider = LCD_DIVIDER_16;
	hlcd.Init.Duty = LCD_DUTY_1_4;
	hlcd.Init.Bias = LCD_BIAS_1_4;
	hlcd.Init.VoltageSource = LCD_VOLTAGESOURCE_INTERNAL;
	hlcd.Init.Contrast = LCD_CONTRASTLEVEL_0;
	hlcd.Init.DeadTime = LCD_DEADTIME_0;
	hlcd.Init.PulseOnDuration = LCD_PULSEONDURATION_0;
	hlcd.Init.MuxSegment = LCD_MUXSEGMENT_DISABLE;
	hlcd.Init.BlinkMode = LCD_BLINKMODE_OFF;
	hlcd.Init.BlinkFrequency = LCD_BLINKFREQUENCY_DIV8;
	if (HAL_LCD_Init(&hlcd) != HAL_OK) {
		Error_Handler();
	}

}

static void MX_TIM2_Init(void) {

	TIM_ClockConfigTypeDef sClockSourceConfig = { 0 };
	TIM_MasterConfigTypeDef sMasterConfig = { 0 };

	htim2.Instance = TIM2;
	htim2.Init.Prescaler = 0;
	htim2.Init.CounterMode = TIM_COUNTERMODE_UP;
	htim2.Init.Period = 65535;
	htim2.Init.ClockDivision = TIM_CLOCKDIVISION_DIV1;
	htim2.Init.AutoReloadPreload = TIM_AUTORELOAD_PRELOAD_DISABLE;
	if (HAL_TIM_Base_Init(&htim2) != HAL_OK) {
		Error_Handler();
	}
	sClockSourceConfig.ClockSource = TIM_CLOCKSOURCE_INTERNAL;
	if (HAL_TIM_ConfigClockSource(&htim2, &sClockSourceConfig) != HAL_OK) {
		Error_Handler();
	}
	sMasterConfig.MasterOutputTrigger = TIM_TRGO_RESET;
	sMasterConfig.MasterSlaveMode = TIM_MASTERSLAVEMODE_DISABLE;
	if (HAL_TIMEx_MasterConfigSynchronization(&htim2, &sMasterConfig)
			!= HAL_OK) {
		Error_Handler();
	}

}

static void MX_TIM3_Init(void) {

	TIM_ClockConfigTypeDef sClockSourceConfig = { 0 };
	TIM_MasterConfigTypeDef sMasterConfig = { 0 };

	htim3.Instance = TIM3;
	htim3.Init.Prescaler = 0;
	htim3.Init.CounterMode = TIM_COUNTERMODE_UP;
	htim3.Init.Period = 65535;
	htim3.Init.ClockDivision = TIM_CLOCKDIVISION_DIV1;
	htim3.Init.AutoReloadPreload = TIM_AUTORELOAD_PRELOAD_DISABLE;
	if (HAL_TIM_Base_Init(&htim3) != HAL_OK) {
		Error_Handler();
	}
	sClockSourceConfig.ClockSource = TIM_CLOCKSOURCE_INTERNAL;
	if (HAL_TIM_ConfigClockSource(&htim3, &sClockSourceConfig) != HAL_OK) {
		Error_Handler();
	}
	sMasterConfig.MasterOutputTrigger = TIM_TRGO_RESET;
	sMasterConfig.MasterSlaveMode = TIM_MASTERSLAVEMODE_DISABLE;
	if (HAL_TIMEx_MasterConfigSynchronization(&htim3, &sMasterConfig)
			!= HAL_OK) {
		Error_Handler();
	}

}

static void MX_TIM4_Init(void) {

	TIM_ClockConfigTypeDef sClockSourceConfig = { 0 };
	TIM_MasterConfigTypeDef sMasterConfig = { 0 };

	htim4.Instance = TIM4;
	htim4.Init.Prescaler = 0;
	htim4.Init.CounterMode = TIM_COUNTERMODE_UP;
	htim4.Init.Period = 65535;
	htim4.Init.ClockDivision = TIM_CLOCKDIVISION_DIV1;
	htim4.Init.AutoReloadPreload = TIM_AUTORELOAD_PRELOAD_DISABLE;
	if (HAL_TIM_Base_Init(&htim4) != HAL_OK) {
		Error_Handler();
	}
	sClockSourceConfig.ClockSource = TIM_CLOCKSOURCE_INTERNAL;
	if (HAL_TIM_ConfigClockSource(&htim4, &sClockSourceConfig) != HAL_OK) {
		Error_Handler();
	}
	sMasterConfig.MasterOutputTrigger = TIM_TRGO_RESET;
	sMasterConfig.MasterSlaveMode = TIM_MASTERSLAVEMODE_DISABLE;
	if (HAL_TIMEx_MasterConfigSynchronization(&htim4, &sMasterConfig)
			!= HAL_OK) {
		Error_Handler();
	}

}

static void MX_TS_Init(void) {

}

static void MX_GPIO_Init(void) {
	GPIO_InitTypeDef GPIO_InitStruct = { 0 };

	/* GPIO Ports Clock Enable */
	__HAL_RCC_GPIOC_CLK_ENABLE();
	__HAL_RCC_GPIOA_CLK_ENABLE();
	__HAL_RCC_GPIOB_CLK_ENABLE();
	__HAL_RCC_GPIOD_CLK_ENABLE();

	/*Configure GPIO pin Output Level */
	HAL_GPIO_WritePin(GPIOA, GPIO_PIN_5 | GPIO_PIN_12, GPIO_PIN_RESET);

	/*Configure GPIO pin Output Level */
	HAL_GPIO_WritePin(GPIOB, LD4_Pin | LD3_Pin, GPIO_PIN_RESET);

	/*Configure GPIO pin : B1_Pin */
	GPIO_InitStruct.Pin = B1_Pin;
	GPIO_InitStruct.Mode = GPIO_MODE_EVT_RISING;
	GPIO_InitStruct.Pull = GPIO_NOPULL;
	HAL_GPIO_Init(B1_GPIO_Port, &GPIO_InitStruct);

	/*Configure GPIO pins : PA5 PA12 */
	GPIO_InitStruct.Pin = GPIO_PIN_5 | GPIO_PIN_12;
	GPIO_InitStruct.Mode = GPIO_MODE_OUTPUT_PP;
	GPIO_InitStruct.Pull = GPIO_NOPULL;
	GPIO_InitStruct.Speed = GPIO_SPEED_FREQ_LOW;
	HAL_GPIO_Init(GPIOA, &GPIO_InitStruct);

	/*Configure GPIO pin : PD2 */
	GPIO_InitStruct.Pin = GPIO_PIN_2;
	GPIO_InitStruct.Mode = GPIO_MODE_INPUT;
	GPIO_InitStruct.Pull = GPIO_NOPULL;
	HAL_GPIO_Init(GPIOD, &GPIO_InitStruct);

	/*Configure GPIO pins : LD4_Pin LD3_Pin */
	GPIO_InitStruct.Pin = LD4_Pin | LD3_Pin;
	GPIO_InitStruct.Mode = GPIO_MODE_OUTPUT_PP;
	GPIO_InitStruct.Pull = GPIO_NOPULL;
	GPIO_InitStruct.Speed = GPIO_SPEED_FREQ_LOW;
	HAL_GPIO_Init(GPIOB, &GPIO_InitStruct);

}

void Error_Handler(void) {
	__disable_irq();
	while (1) {
	}
}
